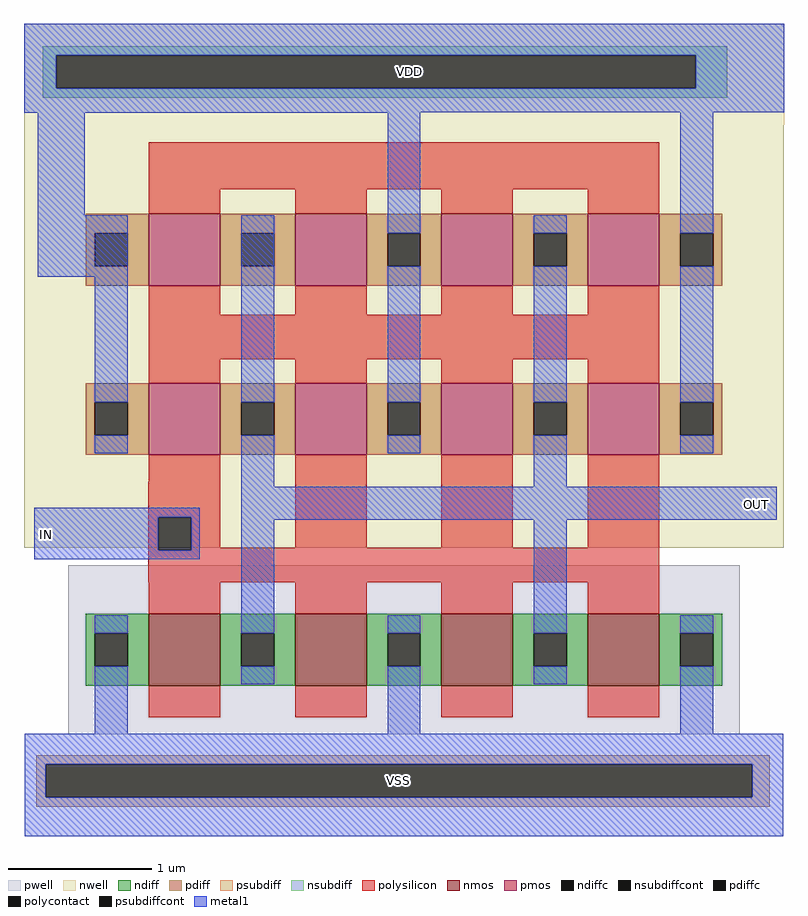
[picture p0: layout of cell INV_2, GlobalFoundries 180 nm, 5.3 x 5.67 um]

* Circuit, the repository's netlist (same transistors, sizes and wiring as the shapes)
* NGSPICE file created from INV_2.ext - technology: gf180mcuD

.subckt nmos_3p3_6FEA4B a_n52_n50# a_256_n94# a_52_n94# a_356_n50# a_n256_n50# a_n444_n50#
+ a_152_n50# a_n356_n94# a_n152_n94# VSUBS
X0 a_152_n50# a_52_n94# a_n52_n50# VSUBS nfet_03v3 ad=0.13p pd=1.02u as=0.13p ps=1.02u w=0.5u l=0.5u
X1 a_n52_n50# a_n152_n94# a_n256_n50# VSUBS nfet_03v3 ad=0.13p pd=1.02u as=0.13p ps=1.02u w=0.5u l=0.5u
X2 a_n256_n50# a_n356_n94# a_n444_n50# VSUBS nfet_03v3 ad=0.13p pd=1.02u as=0.22p ps=1.88u w=0.5u l=0.5u
X3 a_356_n50# a_256_n94# a_152_n50# VSUBS nfet_03v3 ad=0.22p pd=1.88u as=0.13p ps=1.02u w=0.5u l=0.5u
.ends

.subckt pmos_3p3_KYEELV a_152_68# a_n444_n168# a_n256_68# a_n52_68# a_52_24# a_152_n168#
+ a_n444_68# a_356_68# a_256_n212# a_n256_n168# a_n356_n212# a_n152_24# w_n530_n298#
+ a_52_n212# a_n52_n168# a_n152_n212# a_n356_24# a_356_n168# a_256_24#
X0 a_n256_n168# a_n356_n212# a_n444_n168# w_n530_n298# pfet_03v3 ad=0.13p pd=1.02u as=0.22p ps=1.88u w=0.5u l=0.5u
X1 a_356_n168# a_256_n212# a_152_n168# w_n530_n298# pfet_03v3 ad=0.22p pd=1.88u as=0.13p ps=1.02u w=0.5u l=0.5u
X2 a_152_68# a_52_24# a_n52_68# w_n530_n298# pfet_03v3 ad=0.13p pd=1.02u as=0.13p ps=1.02u w=0.5u l=0.5u
X3 a_n52_68# a_n152_24# a_n256_68# w_n530_n298# pfet_03v3 ad=0.13p pd=1.02u as=0.13p ps=1.02u w=0.5u l=0.5u
X4 a_152_n168# a_52_n212# a_n52_n168# w_n530_n298# pfet_03v3 ad=0.13p pd=1.02u as=0.13p ps=1.02u w=0.5u l=0.5u
X5 a_356_68# a_256_24# a_152_68# w_n530_n298# pfet_03v3 ad=0.22p pd=1.88u as=0.13p ps=1.02u w=0.5u l=0.5u
X6 a_n52_n168# a_n152_n212# a_n256_n168# w_n530_n298# pfet_03v3 ad=0.13p pd=1.02u as=0.13p ps=1.02u w=0.5u l=0.5u
X7 a_n256_68# a_n356_24# a_n444_68# w_n530_n298# pfet_03v3 ad=0.13p pd=1.02u as=0.22p ps=1.88u w=0.5u l=0.5u
.ends

.subckt INV_2 IN OUT
Xnmos_3p3_6FEA4B_0 VSS IN IN VSS OUT VSS OUT IN IN VSS nmos_3p3_6FEA4B
Xpmos_3p3_KYEELV_0 OUT VDD OUT VDD IN OUT VDD VDD IN OUT IN IN VDD IN VDD IN IN VDD
+ IN pmos_3p3_KYEELV
.ends

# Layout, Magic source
magic
tech gf180mcuD
magscale 1 10
<< nwell >>
rect 21 513 1081 648
rect 21 507 166 513
rect 168 507 525 508
rect 528 507 1081 513
rect 371 470 907 483
rect 321 180 324 242
<< psubdiff >>
rect 38 -385 1061 -372
rect 38 -431 51 -385
rect 1037 -431 1061 -385
rect 38 -444 1061 -431
<< nsubdiff >>
rect 47 604 1002 617
rect 47 558 66 604
rect 958 558 1002 604
rect 47 545 1002 558
<< psubdiffcont >>
rect 51 -431 1037 -385
<< nsubdiffcont >>
rect 66 558 958 604
<< polysilicon >>
rect 195 417 907 483
rect 195 180 907 242
rect 194 -40 295 9
rect 194 -86 208 -40
rect 254 -83 295 -40
rect 399 -83 499 3
rect 603 -83 703 3
rect 807 -83 907 3
rect 254 -86 907 -83
rect 194 -131 907 -86
<< polycontact >>
rect 208 -86 254 -40
<< metal1 >>
rect 21 604 1081 648
rect 21 558 66 604
rect 958 558 1081 604
rect 21 525 1081 558
rect 21 524 574 525
rect 40 381 106 524
rect 40 295 166 381
rect 120 135 166 295
rect 324 141 370 381
rect 528 372 574 524
rect 936 372 982 525
rect 528 140 574 302
rect 732 142 778 290
rect 936 134 982 298
rect 324 2 370 53
rect 732 2 778 50
rect 35 -40 266 -27
rect 35 -86 208 -40
rect 254 -86 266 -40
rect 35 -99 266 -86
rect 324 -44 1071 2
rect 324 -189 370 -44
rect 732 -182 778 -44
rect 120 -342 166 -256
rect 528 -342 574 -253
rect 936 -342 982 -252
rect 22 -385 1080 -342
rect 22 -431 51 -385
rect 1037 -431 1080 -385
rect 22 -485 1080 -431
use nmos_3p3_6FEA4B  nmos_3p3_6FEA4B_0
transform 1 0 551 0 1 -225
box -468 -118 468 118
use pmos_3p3_KYEELV  pmos_3p3_KYEELV_0
transform 1 0 551 0 1 215
box -530 -298 530 298
<< labels >>
flabel nsubdiffcont 559 581 559 581 0 FreeSans 1250 0 0 0 VDD
flabel psubdiffcont 544 -408 544 -408 0 FreeSans 1250 0 0 0 VSS
flabel metal1 s 53 -64 53 -64 0 FreeSans 1250 0 0 0 IN
port 1 nsew
flabel metal1 s 1042 -23 1042 -23 0 FreeSans 1250 0 0 0 OUT
port 2 nsew
<< end >>

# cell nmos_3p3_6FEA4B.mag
magic
tech gf180mcuD
magscale 1 10
<< pwell >>
rect -468 -118 468 118
<< nmos >>
rect -356 -50 -256 50
rect -152 -50 -52 50
rect 52 -50 152 50
rect 256 -50 356 50
<< ndiff >>
rect -444 23 -356 50
rect -444 -23 -431 23
rect -385 -23 -356 23
rect -444 -50 -356 -23
rect -256 23 -152 50
rect -256 -23 -227 23
rect -181 -23 -152 23
rect -256 -50 -152 -23
rect -52 23 52 50
rect -52 -23 -23 23
rect 23 -23 52 23
rect -52 -50 52 -23
rect 152 23 256 50
rect 152 -23 181 23
rect 227 -23 256 23
rect 152 -50 256 -23
rect 356 23 444 50
rect 356 -23 385 23
rect 431 -23 444 23
rect 356 -50 444 -23
<< ndiffc >>
rect -431 -23 -385 23
rect -227 -23 -181 23
rect -23 -23 23 23
rect 181 -23 227 23
rect 385 -23 431 23
<< polysilicon >>
rect -356 50 -256 94
rect -152 50 -52 94
rect 52 50 152 94
rect 256 50 356 94
rect -356 -94 -256 -50
rect -152 -94 -52 -50
rect 52 -94 152 -50
rect 256 -94 356 -50
<< metal1 >>
rect -431 23 -385 48
rect -431 -48 -385 -23
rect -227 23 -181 48
rect -227 -48 -181 -23
rect -23 23 23 48
rect -23 -48 23 -23
rect 181 23 227 48
rect 181 -48 227 -23
rect 385 23 431 48
rect 385 -48 431 -23
<< end >>

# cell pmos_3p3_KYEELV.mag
magic
tech gf180mcuD
magscale 1 10
<< nwell >>
rect -530 -298 530 298
<< pmos >>
rect -356 68 -256 168
rect -152 68 -52 168
rect 52 68 152 168
rect 256 68 356 168
rect -356 -168 -256 -68
rect -152 -168 -52 -68
rect 52 -168 152 -68
rect 256 -168 356 -68
<< pdiff >>
rect -444 141 -356 168
rect -444 95 -431 141
rect -385 95 -356 141
rect -444 68 -356 95
rect -256 141 -152 168
rect -256 95 -227 141
rect -181 95 -152 141
rect -256 68 -152 95
rect -52 141 52 168
rect -52 95 -23 141
rect 23 95 52 141
rect -52 68 52 95
rect 152 141 256 168
rect 152 95 181 141
rect 227 95 256 141
rect 152 68 256 95
rect 356 141 444 168
rect 356 95 385 141
rect 431 95 444 141
rect 356 68 444 95
rect -444 -95 -356 -68
rect -444 -141 -431 -95
rect -385 -141 -356 -95
rect -444 -168 -356 -141
rect -256 -95 -152 -68
rect -256 -141 -227 -95
rect -181 -141 -152 -95
rect -256 -168 -152 -141
rect -52 -95 52 -68
rect -52 -141 -23 -95
rect 23 -141 52 -95
rect -52 -168 52 -141
rect 152 -95 256 -68
rect 152 -141 181 -95
rect 227 -141 256 -95
rect 152 -168 256 -141
rect 356 -95 444 -68
rect 356 -141 385 -95
rect 431 -141 444 -95
rect 356 -168 444 -141
<< pdiffc >>
rect -431 95 -385 141
rect -227 95 -181 141
rect -23 95 23 141
rect 181 95 227 141
rect 385 95 431 141
rect -431 -141 -385 -95
rect -227 -141 -181 -95
rect -23 -141 23 -95
rect 181 -141 227 -95
rect 385 -141 431 -95
<< polysilicon >>
rect -356 168 -256 212
rect -152 168 -52 212
rect 52 168 152 212
rect 256 168 356 212
rect -356 24 -256 68
rect -152 24 -52 68
rect 52 24 152 68
rect 256 24 356 68
rect -356 -68 -256 -24
rect -152 -68 -52 -24
rect 52 -68 152 -24
rect 256 -68 356 -24
rect -356 -212 -256 -168
rect -152 -212 -52 -168
rect 52 -212 152 -168
rect 256 -212 356 -168
<< metal1 >>
rect -431 141 -385 166
rect -431 70 -385 95
rect -227 141 -181 166
rect -227 70 -181 95
rect -23 141 23 166
rect -23 70 23 95
rect 181 141 227 166
rect 181 70 227 95
rect 385 141 431 166
rect 385 70 431 95
rect -431 -95 -385 -70
rect -431 -166 -385 -141
rect -227 -95 -181 -70
rect -227 -166 -181 -141
rect -23 -95 23 -70
rect -23 -166 23 -141
rect 181 -95 227 -70
rect 181 -166 227 -141
rect 385 -95 431 -70
rect 385 -166 431 -141
<< end >>
